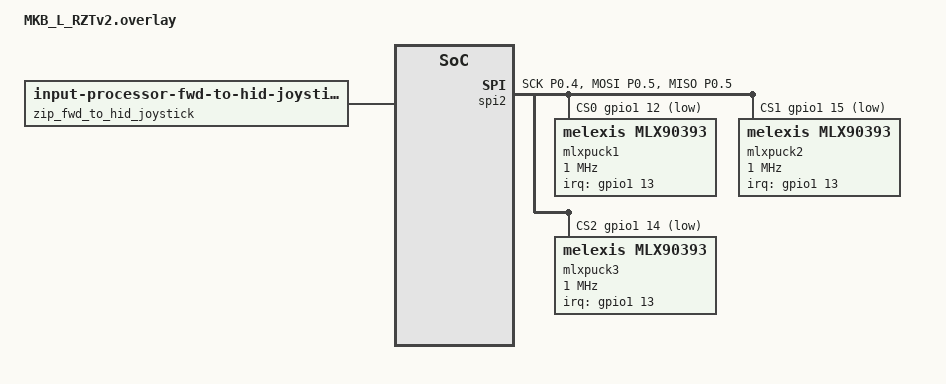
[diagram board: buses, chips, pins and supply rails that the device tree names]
#include <dt-bindings/zmk/keys.h>
#include <dt-bindings/zmk/pointing.h>

/ {
    xy_transf: xy_transf {  
            compatible = "zmk,input-processor-transform";
            #input-processor-cells = <1>;
            type = <INPUT_EV_REL>;
            x-codes = <INPUT_REL_X>, <INPUT_REL_WHEEL>;
            y-codes = <INPUT_REL_Y>, <INPUT_REL_HWHEEL>;
    };
    xy_scaler: xy_scaler {
            compatible = "zmk,input-processor-scaler";
            #input-processor-cells = <2>;
            type = <INPUT_EV_REL>;
            codes = <INPUT_REL_X>, <INPUT_REL_Y>;
            track-remainders;
    };
    z_scaler: z_scaler {
            compatible = "zmk,input-processor-scaler";
            #input-processor-cells = <2>;
            type = <INPUT_EV_REL>;
            codes = <INPUT_REL_Z>;
            track-remainders;
    };

    mlxpuck1_il {
            compatible = "zmk,input-listener";
            device = <&mlxpuck1>;
            input-processors = <&xy_transf (INPUT_TRANSFORM_Y_INVERT)>
                            ,  <&xy_scaler 1 30>, <&z_scaler 1 30>
                            ,  <&zip_trixer 0>;
    };
    mlxpuck2_il {
            compatible = "zmk,input-listener";
            device = <&mlxpuck2>;
            input-processors = <&xy_transf (INPUT_TRANSFORM_Y_INVERT)>
                            ,  <&xy_scaler 1 30>, <&z_scaler 1 30>
                            ,  <&zip_trixer 1>;
    };
    mlxpuck3_il {
            compatible = "zmk,input-listener";
            device = <&mlxpuck3>;
            input-processors = <&xy_transf (INPUT_TRANSFORM_Y_INVERT)>
                            ,  <&xy_scaler 1 30>, <&z_scaler 1 30>
                            ,  <&zip_trixer 2>;
    };
    trixer_il {
    compatible = "zmk,input-listener";
    device = <&zip_trixer>;
            input-processors = <&zip_fwd_to_hid_joystick>;
            // input-processors = <&xy_scaler 3 7>, <&z_scaler 3 7>;
	};

    zip_fwd_to_hid_joystick: zip_forward_fwd_to_hid_joystick {
            compatible = "zmk,input-processor-fwd-to-hid-joystick";
            #input-processor-cells = <0>;
    };
    jskp: hid_joystick_key_press {
            compatible = "zmk,behavior-hid-joystick-key-press";
            #binding-cells = <1>;
    };
	jskp_il {
		compatible = "zmk,input-listener";
		device = <&jskp>;
                input-processors = <&zip_fwd_to_hid_joystick>;
	};
};

// / {
//     magnet_listener: magnet_listener {
//         compatible = "zmk,input-listener";
//         status = "okay";
//         device = <&mlxpuck1>;
//         move {
//             layers = <0>;
//         input-processors = <&zip_xy_transform INPUT_TRANSFORM_X_INVERT>; 
//         };
//     };
// };

// / {
//     magnet_listener: magnet_listener {
//         compatible = "zmk,input-listener";
//         status = "okay";
//         device = <&mlxpuck2>;
//         move {
//             layers = <0>;
//         input-processors = <&zip_xy_transform INPUT_TRANSFORM_X_INVERT>; 
//         };
//     };
// };

// / {
//     magnet_listener: magnet_listener {
//         compatible = "zmk,input-listener";
//         status = "okay";
//         device = <&mlxpuck3>;
//         move {
//             layers = <0>;
//         input-processors = <&zip_xy_transform INPUT_TRANSFORM_X_INVERT>; 
//         };
//     };
// };

&spi2 {
    compatible = "nordic,nrf-spim";
    status = "okay";
    pinctrl-0 = <&spi2_default>;
    pinctrl-1 = <&spi2_sleep>;
    pinctrl-names = "default", "sleep";
    cs-gpios = <&gpio1 12 (GPIO_ACTIVE_LOW | GPIO_PULL_UP)>
             , <&gpio1 15 (GPIO_ACTIVE_LOW | GPIO_PULL_UP)>
             , <&gpio1 14 (GPIO_ACTIVE_LOW | GPIO_PULL_UP)>
             ;
    mlxpuck1: mlx90393@0 {
        compatible = "melexis,mlx90393";
        status = "okay";
        spi-max-frequency = <1000000>;
        reg = <0>;
        irq-gpios = <&gpio1 13 (GPIO_ACTIVE_HIGH | GPIO_PULL_DOWN)>;
        woc-thd-trim-pctg = <65>;
        smooth-len = <5>;
        downshift = <50>;
        rpt-dzn-x = <150>;
        rpt-dzn-y = <150>;
        rpt-dzn-z = <150>;
    };

    mlxpuck2: mlx90393@1 {
        compatible = "melexis,mlx90393";
        status = "okay";
        spi-max-frequency = <1000000>;
        reg = <1>;
        irq-gpios = <&gpio1 13 (GPIO_ACTIVE_HIGH | GPIO_PULL_DOWN)>;
        woc-thd-trim-pctg = <65>;
        smooth-len = <5>;
        downshift = <50>;
        rpt-dzn-x = <150>;
        rpt-dzn-y = <150>;
        rpt-dzn-z = <150>;
    };
    mlxpuck3: mlx90393@2 {
        compatible = "melexis,mlx90393";
        status = "okay";
        spi-max-frequency = <1000000>;
        reg = <2>;
        irq-gpios = <&gpio1 13 (GPIO_ACTIVE_HIGH | GPIO_PULL_DOWN)>;
        woc-thd-trim-pctg = <65>;
        smooth-len = <5>;
        downshift = <50>;
        rpt-dzn-x = <150>;
        rpt-dzn-y = <150>;
        rpt-dzn-z = <150>;
    };
};

&pinctrl {
    spi2_default: spi2_default {
        group1 {
            psels = <NRF_PSEL(SPIM_SCK, 0, 4)>,
                    <NRF_PSEL(SPIM_MOSI, 0, 5)>,
                    <NRF_PSEL(SPIM_MISO, 0, 5)>;
        };
    };
    spi2_sleep: spi2_sleep {
        group1 {
            psels = <NRF_PSEL(SPIM_SCK, 0, 4)>,
                    <NRF_PSEL(SPIM_MOSI, 0, 5)>,
                    <NRF_PSEL(SPIM_MISO, 0, 5)>;
            low-power-enable;
        };
    };
};

&uart0 {
	status = "disabled";
};
